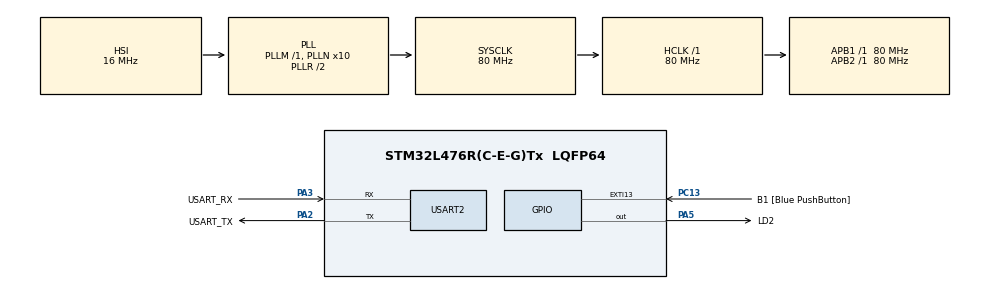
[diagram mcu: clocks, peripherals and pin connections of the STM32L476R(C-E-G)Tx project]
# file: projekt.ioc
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FREERTOS.Tasks01=defaultTask,24,128,StartDefaultTask,Default,NULL,Dynamic,NULL,NULL
FREERTOS.configUSE_NEWLIB_REENTRANT=1
Mcu.Family=STM32L4
Mcu.Name=STM32L476R(C-E-G)Tx
Mcu.Package=LQFP64
NVIC.PriorityGroup=NVIC_PRIORITYGROUP_4
NVIC.TIM6_DAC_IRQn=true\:15\:0\:false\:false\:true\:false\:false\:true\:true
NVIC.TimeBase=TIM6_DAC_IRQn
NVIC.TimeBaseIP=TIM6
PA13\ (JTMS-SWDIO).GPIO_Label=TMS
PA13\ (JTMS-SWDIO).Mode=Serial_Wire
PA13\ (JTMS-SWDIO).Signal=SYS_JTMS-SWDIO
PA14\ (JTCK-SWCLK).GPIO_Label=TCK
PA14\ (JTCK-SWCLK).Mode=Serial_Wire
PA14\ (JTCK-SWCLK).Signal=SYS_JTCK-SWCLK
PA2.GPIO_Label=USART_TX
PA2.GPIO_Mode=GPIO_MODE_AF_PP
PA2.GPIO_PuPd=GPIO_NOPULL
PA2.GPIO_Speed=GPIO_SPEED_FREQ_VERY_HIGH
PA2.Mode=Asynchronous
PA2.Signal=USART2_TX
PA3.GPIO_Label=USART_RX
PA3.GPIO_Mode=GPIO_MODE_AF_PP
PA3.GPIO_PuPd=GPIO_NOPULL
PA3.GPIO_Speed=GPIO_SPEED_FREQ_VERY_HIGH
PA3.Mode=Asynchronous
PA3.Signal=USART2_RX
PA5.GPIO_Label=LD2
PA5.GPIO_ModeDefaultOutputPP=GPIO_MODE_OUTPUT_PP
PA5.GPIO_PuPd=GPIO_NOPULL
PA5.GPIO_Speed=GPIO_SPEED_FREQ_LOW
PA5.Signal=GPIO_Output
PB3\ (JTDO-TRACESWO).GPIO_Label=SWO
PB3\ (JTDO-TRACESWO).Signal=SYS_JTDO-SWO
PC13.GPIO_Label=B1 [Blue PushButton]
PC13.GPIO_ModeDefaultEXTI=GPIO_MODE_IT_FALLING
PC13.GPIO_PuPd=GPIO_NOPULL
PC13.Signal=GPXTI13
PC14-OSC32_IN\ (PC14).Mode=LSE-External-Oscillator
PC14-OSC32_IN\ (PC14).Signal=RCC_OSC32_IN
PC15-OSC32_OUT\ (PC15).Mode=LSE-External-Oscillator
PC15-OSC32_OUT\ (PC15).Signal=RCC_OSC32_OUT
PH0-OSC_IN\ (PH0).Signal=RCC_OSC_IN
PH1-OSC_OUT\ (PH1).Signal=RCC_OSC_OUT
ProjectManager.HeapSize=0x200
ProjectManager.StackSize=0x400
ProjectManager.TargetToolchain=STM32CubeIDE
RCC.ADCFreq_Value=64000000
RCC.AHBFreq_Value=80000000
RCC.APB1Freq_Value=80000000
RCC.APB1TimFreq_Value=80000000
RCC.APB2Freq_Value=80000000
RCC.APB2TimFreq_Value=80000000
RCC.CortexFreq_Value=80000000
RCC.HCLKFreq_Value=80000000
RCC.HSE_VALUE=8000000
RCC.HSI_VALUE=16000000
RCC.MSI_VALUE=4000000
RCC.PLLN=10
RCC.PLLSourceVirtual=RCC_PLLSOURCE_HSI
RCC.PREFETCH_ENABLE=1
RCC.SYSCLKFreq_VALUE=80000000
RCC.SYSCLKSource=RCC_SYSCLKSOURCE_PLLCLK
RCC.USBFreq_Value=64000000
RCC.VCOOutputFreq_Value=160000000
USART2.VirtualMode-Asynchronous=VM_ASYNC
VP_FREERTOS_VS_CMSIS_V2.Mode=CMSIS_V2
VP_SYS_VS_tim6.Mode=TIM6
board=NUCLEO-L476RG

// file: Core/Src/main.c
/* USER CODE BEGIN Header */
/**
  ******************************************************************************
  * @file           : main.c
  * @brief          : Main program body
  ******************************************************************************
  * @attention
  *
  * Copyright (c) 2025 STMicroelectronics.
  * All rights reserved.
  *
  * This software is licensed under terms that can be found in the LICENSE file
  * in the root directory of this software component.
  * If no LICENSE file comes with this software, it is provided AS-IS.
  *
  ******************************************************************************
  */
/* USER CODE END Header */
#include "main.h"
#include "cmsis_os.h"
#include "usart.h"
#include "gpio.h"

void SystemClock_Config(void);
void MX_FREERTOS_Init(void);

int main(void)
{

  /* MCU Configuration--------------------------------------------------------*/

  /* Reset of all peripherals, Initializes the Flash interface and the Systick. */
  HAL_Init();

  /* Configure the system clock */
  SystemClock_Config();

  /* Initialize all configured peripherals */
  MX_GPIO_Init();
  MX_USART2_UART_Init();

  /* Init scheduler */
  osKernelInitialize();

  /* Call init function for freertos objects (in cmsis_os2.c) */
  MX_FREERTOS_Init();

  /* Start scheduler */
  osKernelStart();

  /* We should never get here as control is now taken by the scheduler */

  /* Infinite loop */
  while (1)
  {

  }
}

void SystemClock_Config(void)
{
  RCC_OscInitTypeDef RCC_OscInitStruct = {0};
  RCC_ClkInitTypeDef RCC_ClkInitStruct = {0};

  /** Configure the main internal regulator output voltage
  */
  if (HAL_PWREx_ControlVoltageScaling(PWR_REGULATOR_VOLTAGE_SCALE1) != HAL_OK)
  {
    Error_Handler();
  }

  /** Initializes the RCC Oscillators according to the specified parameters
  * in the RCC_OscInitTypeDef structure.
  */
  RCC_OscInitStruct.OscillatorType = RCC_OSCILLATORTYPE_HSI;
  RCC_OscInitStruct.HSIState = RCC_HSI_ON;
  RCC_OscInitStruct.HSICalibrationValue = RCC_HSICALIBRATION_DEFAULT;
  RCC_OscInitStruct.PLL.PLLState = RCC_PLL_ON;
  RCC_OscInitStruct.PLL.PLLSource = RCC_PLLSOURCE_HSI;
  RCC_OscInitStruct.PLL.PLLM = 1;
  RCC_OscInitStruct.PLL.PLLN = 10;
  RCC_OscInitStruct.PLL.PLLP = RCC_PLLP_DIV7;
  RCC_OscInitStruct.PLL.PLLQ = RCC_PLLQ_DIV2;
  RCC_OscInitStruct.PLL.PLLR = RCC_PLLR_DIV2;
  if (HAL_RCC_OscConfig(&RCC_OscInitStruct) != HAL_OK)
  {
    Error_Handler();
  }

  /** Initializes the CPU, AHB and APB buses clocks
  */
  RCC_ClkInitStruct.ClockType = RCC_CLOCKTYPE_HCLK|RCC_CLOCKTYPE_SYSCLK
                              |RCC_CLOCKTYPE_PCLK1|RCC_CLOCKTYPE_PCLK2;
  RCC_ClkInitStruct.SYSCLKSource = RCC_SYSCLKSOURCE_PLLCLK;
  RCC_ClkInitStruct.AHBCLKDivider = RCC_SYSCLK_DIV1;
  RCC_ClkInitStruct.APB1CLKDivider = RCC_HCLK_DIV1;
  RCC_ClkInitStruct.APB2CLKDivider = RCC_HCLK_DIV1;

  if (HAL_RCC_ClockConfig(&RCC_ClkInitStruct, FLASH_LATENCY_4) != HAL_OK)
  {
    Error_Handler();
  }
}

void HAL_TIM_PeriodElapsedCallback(TIM_HandleTypeDef *htim)
{
  if (htim->Instance == TIM6) {
    HAL_IncTick();
  }
}

void Error_Handler(void)
{
  __disable_irq();
  while (1)
  {
  }
}

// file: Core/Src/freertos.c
/* USER CODE BEGIN Header */
/**
  ******************************************************************************
  * File Name          : freertos.c
  * Description        : Code for freertos applications
  ******************************************************************************
  * @attention
  *
  * Copyright (c) 2025 STMicroelectronics.
  * All rights reserved.
  *
  * This software is licensed under terms that can be found in the LICENSE file
  * in the root directory of this software component.
  * If no LICENSE file comes with this software, it is provided AS-IS.
  *
  ******************************************************************************
  */
/* USER CODE END Header */

#include "FreeRTOS.h"
#include "task.h"
#include "main.h"
#include "cmsis_os.h"

/* USER CODE BEGIN Variables */
osThreadId_t Task_uart_handle;
const osThreadAttr_t Task_uart_attributes = {
  .name = "task_uart",
  .stack_size = 128 * 4,
  .priority = (osPriority_t) osPriorityNormal,
};
osThreadId_t task_obsluga_komend_handle;
const osThreadAttr_t task_obsluga_komend_attributes = {
  .name = "task_obsluga_komend",
  .stack_size = 128 * 4,
  .priority = (osPriority_t) osPriorityNormal,
};
/* USER CODE END Variables */
/* Definitions for defaultTask */
osThreadId_t defaultTaskHandle;
const osThreadAttr_t defaultTask_attributes = {
  .name = "defaultTask",
  .stack_size = 128 * 4,
  .priority = (osPriority_t) osPriorityNormal,
};

osMessageQueueId_t kolejka_handle;
const osMessageQueueAttr_t kolejka_komend_attributes = {
  .name = "koljeka komend",
};

/* USER CODE BEGIN FunctionPrototypes */
void Task_uart(void *argument);
void task_obsluga_komend(void *argument);
/* USER CODE END FunctionPrototypes */

void StartDefaultTask(void *argument);

void MX_FREERTOS_Init(void); /* (MISRA C 2004 rule 8.1) */

void MX_FREERTOS_Init(void) {

  /* USER CODE BEGIN RTOS_QUEUES */
  kolejka_handle = osMessageQueueNew(8, ROZMIAR_TABLICY, &kolejka_komend_attributes);
  /* add queues, ... */
  /* USER CODE END RTOS_QUEUES */

  /* Create the thread(s) */
  /* creation of defaultTask */
  defaultTaskHandle = osThreadNew(StartDefaultTask, NULL, &defaultTask_attributes);

  /* USER CODE BEGIN RTOS_THREADS */
  Task_uart_handle = osThreadNew(Task_uart, NULL, &Task_uart_attributes);
  task_obsluga_komend_handle = osThreadNew(task_obsluga_komend, NULL, &task_obsluga_komend_attributes);
  /* USER CODE END RTOS_THREADS */

}

void StartDefaultTask(void *argument)
{
  for(;;)
  {
    osDelay(1);
  }
}
